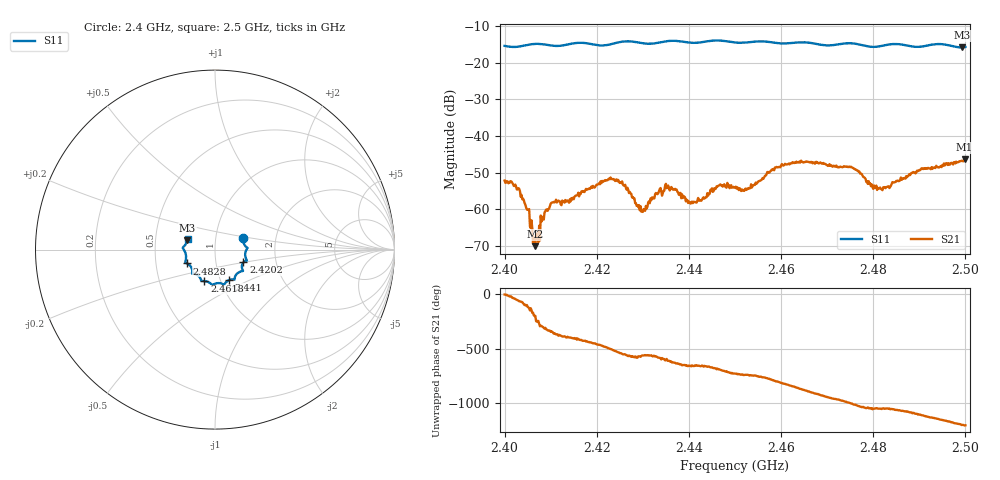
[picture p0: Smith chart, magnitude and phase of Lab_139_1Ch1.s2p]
# Hz S RI R 50
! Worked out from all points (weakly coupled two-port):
!   601 points, 2.4 GHz to 2.5 GHz, reference 50 ohm
!   highest |S21| = -46.42 dB at 2.4998 GHz (marker M1); lowest = -70.1 dB at 2.4067 GHz (marker M2)
!   lowest |S11| = -15.8 dB at 2.4993 GHz (marker M3), VSWR 1.39, Z = 36.5 + j3.84 ohm
!   |S11| at or under -10 dB: start of sweep to end of sweep
!   S12 and S22 are empty: the file has one direction only
!   S11 on the Smith chart (normalised r, x): 2.4 GHz: 1.36, +0.18; 2.4202 GHz: 1.36, -0.20; 2.441 GHz: 1.10, -0.39; 2.4618 GHz: 0.84, -0.30; 2.4828 GHz: 0.72, -0.11; 2.5 GHz: 0.73, +0.09
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2.4e9  0.1581 0.0626  0.00245 -0.000159  0 0  0 0
2.4035e9  0.1661 0.0235  0.000528 -0.00137  0 0  0 0
2.406667e9  0.1805 0.00989  -0.000294 0.000104  0 0  0 0
2.410333e9  0.1711 -0.00945  0.0012 0.000273  0 0  0 0
2.416667e9  0.1773 -0.0606  0.00086 -0.00152  0 0  0 0
2.420167e9  0.1582 -0.0711  -0.000512 -0.0021  0 0  0 0
2.425e9  0.1545 -0.1135  -0.00228 6.27e-05  0 0  0 0
2.429833e9  0.1379 -0.1236  -0.000856 0.000367  0 0  0 0
2.433333e9  0.1115 -0.151  -0.00119 0.00113  0 0  0 0
2.436667e9  0.1086 -0.1673  -3.83e-05 0.00187  0 0  0 0
2.441e9  0.0785 -0.1697  0.000643 0.00108  0 0  0 0
2.4465e9  0.0491 -0.1951  0.00181 0.00107  0 0  0 0
2.45e9  0.0283 -0.1871  0.00194 -0.000354  0 0  0 0
2.461833e9  -0.0595 -0.1754  -0.00195 -0.00359  0 0  0 0
2.466667e9  -0.0784 -0.1683  -0.00438 0.000304  0 0  0 0
2.475167e9  -0.1276 -0.1334  0.000926 0.00368  0 0  0 0
2.48e9  -0.1348 -0.0947  0.00167 0.000898  0 0  0 0
2.482833e9  -0.1571 -0.0768  0.00175 0.000963  0 0  0 0
2.483333e9  -0.1603 -0.0755  0.00184 0.000913  0 0  0 0
2.499333e9  -0.1539 0.0512  -0.00234 -0.00394  0 0  0 0
2.499833e9  -0.1525 0.0586  -0.00281 -0.00386  0 0  0 0
2.5e9  -0.1522 0.061  -0.00272 -0.00386  0 0  0 0
